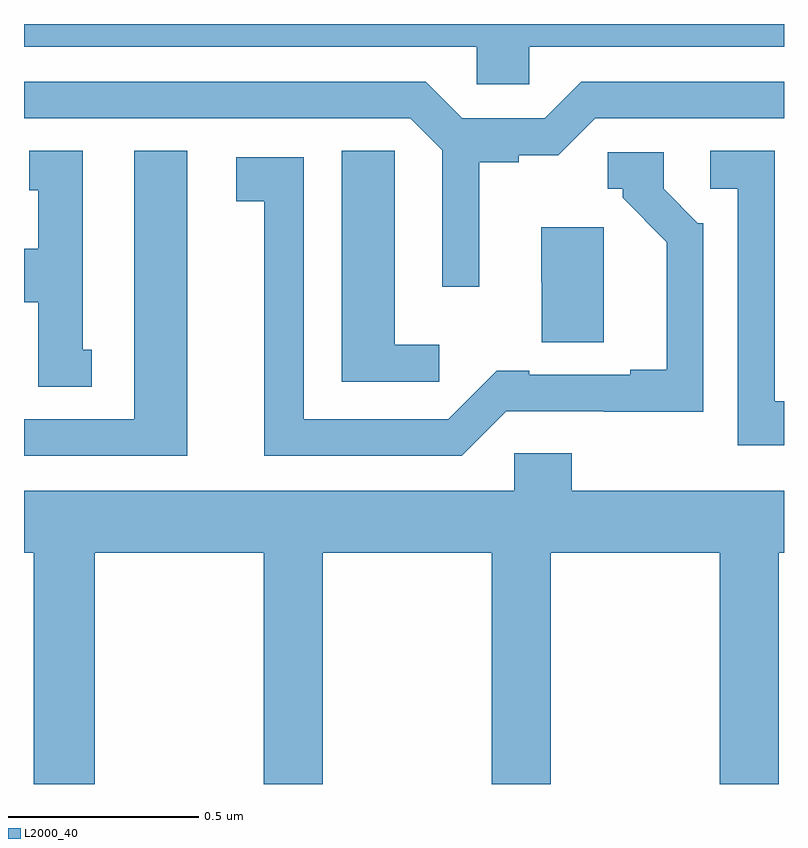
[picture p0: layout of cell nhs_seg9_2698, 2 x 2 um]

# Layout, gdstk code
import gdstk
lib = gdstk.Library(unit=1e-6, precision=1e-09)
def P(c, l, *ps):  # polygons
    for p in ps: c.add(gdstk.Polygon(p, *l))
L2000_40 = (2000, 40)

nhs_seg9_2698 = lib.new_cell('nhs_seg9_2698')
P(nhs_seg9_2698, L2000_40, [(145.329,1176.44),(146,1176.44),(146,1176.5),(144,1176.5),(144,1176.44),(145.191,1176.44),(145.191,1176.342),(145.329,1176.342)],
  [(145.198,1176.136),(145.302,1176.136),(145.302,1176.155),(145.406,1176.155),(145.503,1176.252),(146,1176.252),(146,1176.348),(145.467,1176.348),(145.371,1176.252),(145.153,1176.252),(145.057,1176.348),(144,1176.348),(144,1176.252),(145.017,1176.252),(145.101,1176.168),(145.101,1175.808),(145.198,1175.808)],
  [(145.093,1175.656),(144.976,1175.656),(144.976,1176.059),(144.975,1176.059),(144.975,1176.167),(144.836,1176.167),(144.836,1175.559),(145.093,1175.559)],
  [(146,1175.507),(145.975,1175.507),(145.975,1176.167),(145.806,1176.167),(145.806,1176.066),(145.878,1176.066),(145.878,1175.391),(146,1175.391)],
  [(144.43,1176.166),(144.29,1176.166),(144.29,1175.46),(144,1175.46),(144,1175.364),(144.43,1175.364)],
  [(144.178,1175.643),(144.154,1175.643),(144.154,1176.166),(144.014,1176.166),(144.014,1176.063),(144.038,1176.063),(144.038,1175.908),(144,1175.908),(144,1175.768),(144.038,1175.768),(144.038,1175.545),(144.178,1175.545)],
  [(145.269,1175.481),(145.525,1175.481),(145.525,1175.48),(145.788,1175.48),(145.788,1175.976),(145.773,1175.976),(145.683,1176.066),(145.683,1176.162),(145.536,1176.162),(145.536,1176.066),(145.575,1176.066),(145.575,1176.043),(145.691,1175.926),(145.691,1175.59),(145.595,1175.59),(145.595,1175.577),(145.33,1175.577),(145.33,1175.588),(145.244,1175.588),(145.116,1175.46),(144.736,1175.46),(144.736,1176.15),(144.558,1176.15),(144.558,1176.034),(144.632,1176.034),(144.632,1175.364),(145.152,1175.364)],
  [(145.525,1175.965),(145.361,1175.965),(145.361,1175.82),(145.363,1175.82),(145.363,1175.662),(145.525,1175.662)],
  [(145.386,1175.108),(145.831,1175.108),(145.831,1174.5),(145.986,1174.5),(145.986,1175.108),(146,1175.108),(146,1175.272),(145.442,1175.272),(145.442,1175.37),(145.29,1175.37),(145.29,1175.272),(144,1175.272),(144,1175.108),(144.026,1175.108),(144.026,1174.5),(144.186,1174.5),(144.186,1175.108),(144.631,1175.108),(144.631,1174.5),(144.786,1174.5),(144.786,1175.108),(145.231,1175.108),(145.231,1174.5),(145.386,1174.5)])

lib.write_gds('nhs_seg9_2698.gds')
